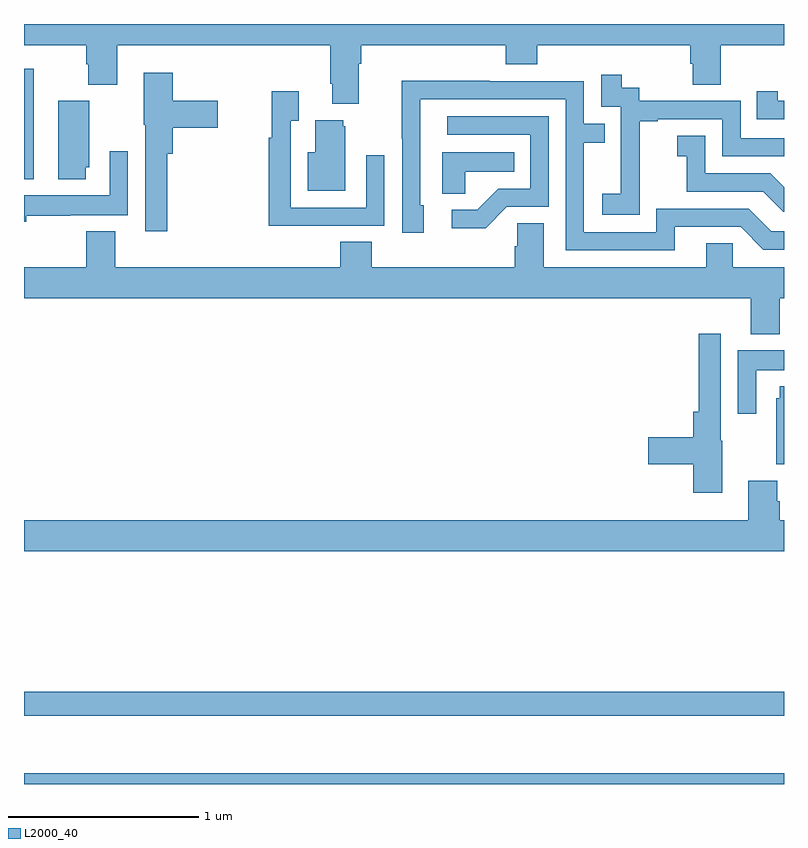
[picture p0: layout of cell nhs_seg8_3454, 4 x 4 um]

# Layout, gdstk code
import gdstk
lib = gdstk.Library(unit=1e-6, precision=1e-09)
def R(c, l, rs):  # rectangles x0, y0, x1, y1
    for r in rs: c.add(gdstk.rectangle(r[:2], r[2:], *l))
def P(c, l, *ps):  # polygons
    for p in ps: c.add(gdstk.Polygon(p, *l))
L2000_40 = (2000, 40)

nhs_seg8_3454 = lib.new_cell('nhs_seg8_3454')
R(nhs_seg8_3454, L2000_40, [(323,1157.9,327,1157.956), (323,1158.258,327,1158.386), (323,1161.083,323.05,1161.664)])
P(nhs_seg8_3454, L2000_40, [(324.763,1161.692),(324.776,1161.692),(324.776,1161.788),(325.535,1161.788),(325.535,1161.689),(325.7,1161.689),(325.7,1161.788),(326.507,1161.788),(326.507,1161.69),(326.519,1161.69),(326.519,1161.58),(326.667,1161.58),(326.667,1161.788),(327,1161.788),(327,1161.9),(323,1161.9),(323,1161.788),(323.327,1161.788),(323.327,1161.689),(323.339,1161.689),(323.339,1161.58),(323.492,1161.58),(323.492,1161.788),(324.611,1161.788),(324.611,1161.586),(324.623,1161.586),(324.623,1161.479),(324.763,1161.479)],
  [(323.753,1161.218),(323.783,1161.218),(323.783,1161.353),(324.019,1161.353),(324.019,1161.495),(323.783,1161.495),(323.783,1161.643),(323.63,1161.643),(323.63,1161.369),(323.637,1161.369),(323.637,1160.808),(323.753,1160.808)],
  [(326.241,1161.103),(326.24,1161.103),(326.24,1161.387),(326.335,1161.387),(326.335,1161.399),(326.676,1161.399),(326.676,1161.204),(327,1161.204),(327,1161.3),(326.772,1161.3),(326.772,1161.495),(326.238,1161.495),(326.238,1161.564),(326.146,1161.564),(326.146,1161.634),(326.037,1161.634),(326.037,1161.465),(326.142,1161.465),(326.142,1161.236),(326.141,1161.236),(326.141,1161.007),(326.043,1161.007),(326.043,1160.897),(326.241,1160.897)],
  [(326.425,1160.832),(326.772,1160.832),(326.892,1160.712),(327,1160.712),(327,1160.808),(326.934,1160.808),(326.814,1160.928),(326.328,1160.928),(326.328,1160.805),(325.947,1160.805),(325.947,1161.274),(326.057,1161.274),(326.057,1161.375),(325.947,1161.375),(325.947,1161.6),(325.451,1161.6),(325.451,1161.602),(324.988,1161.602),(324.988,1161.295),(324.99,1161.295),(324.99,1160.802),(325.105,1160.802),(325.105,1160.946),(325.086,1160.946),(325.086,1161.504),(325.851,1161.504),(325.851,1160.709),(326.425,1160.709)],
  [(327,1161.495),(326.968,1161.495),(326.968,1161.547),(326.857,1161.547),(326.857,1161.399),(327,1161.399)],
  [(324.581,1160.838),(324.897,1160.838),(324.897,1161.208),(324.801,1161.208),(324.801,1160.934),(324.405,1160.934),(324.405,1161.391),(324.445,1161.391),(324.445,1161.547),(324.304,1161.547),(324.304,1161.302),(324.289,1161.302),(324.289,1160.837),(324.581,1160.837)],
  [(323.326,1161.147),(323.344,1161.147),(323.344,1161.495),(323.18,1161.495),(323.18,1161.084),(323.326,1161.084)],
  [(325.542,1160.937),(325.761,1160.937),(325.761,1161.414),(325.227,1161.414),(325.227,1161.318),(325.665,1161.318),(325.665,1161.033),(325.496,1161.033),(325.385,1160.922),(325.251,1160.922),(325.251,1160.825),(325.429,1160.825)],
  [(324.691,1161.363),(324.68,1161.363),(324.68,1161.394),(324.533,1161.394),(324.533,1161.226),(324.494,1161.226),(324.494,1161.023),(324.691,1161.023)],
  [(327,1161.042),(326.928,1161.114),(326.586,1161.114),(326.586,1161.313),(326.439,1161.313),(326.439,1161.203),(326.488,1161.203),(326.488,1161.018),(326.891,1161.018),(326.996,1160.913),(327,1160.913)],
  [(323.012,1160.892),(323.243,1160.892),(323.243,1160.894),(323.547,1160.894),(323.547,1161.229),(323.451,1161.229),(323.451,1160.998),(323,1160.998),(323,1160.858),(323.012,1160.858)],
  [(325.323,1161.122),(325.58,1161.122),(325.58,1161.226),(325.202,1161.226),(325.202,1161.007),(325.323,1161.007)],
  [(326.978,1160.456),(327,1160.456),(327,1160.62),(326.73,1160.62),(326.73,1160.747),(326.591,1160.747),(326.591,1160.62),(325.735,1160.62),(325.735,1160.852),(325.596,1160.852),(325.596,1160.729),(325.583,1160.729),(325.583,1160.62),(324.83,1160.62),(324.83,1160.753),(324.665,1160.753),(324.665,1160.62),(323.479,1160.62),(323.479,1160.809),(323.327,1160.809),(323.327,1160.62),(323,1160.62),(323,1160.456),(326.825,1160.456),(326.825,1160.267),(326.978,1160.267)],
  [(326.674,1159.707),(326.667,1159.707),(326.667,1160.269),(326.551,1160.269),(326.551,1159.858),(326.522,1159.858),(326.522,1159.724),(326.286,1159.724),(326.286,1159.582),(326.522,1159.582),(326.522,1159.434),(326.674,1159.434)],
  [(326.853,1160.078),(327,1160.078),(327,1160.182),(326.757,1160.182),(326.757,1159.848),(326.853,1159.848)],
  [(327,1159.993),(326.978,1159.993),(326.978,1159.929),(326.96,1159.929),(326.96,1159.582),(327,1159.582)],
  [(327,1159.288),(326.978,1159.288),(326.978,1159.388),(326.965,1159.388),(326.965,1159.497),(326.813,1159.497),(326.813,1159.288),(323,1159.288),(323,1159.124),(327,1159.124)])

lib.write_gds('nhs_seg8_3454.gds')
